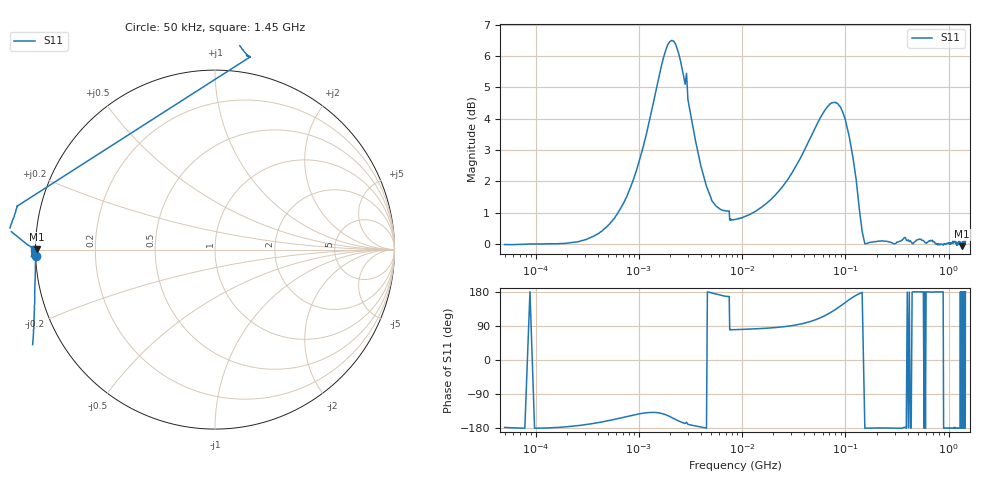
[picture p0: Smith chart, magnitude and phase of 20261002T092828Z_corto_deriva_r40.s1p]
! piloto_deriva / corto_deriva / r40
# HZ S RI R 50
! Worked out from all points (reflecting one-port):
!   501 points, 50 kHz to 1.45 GHz, reference 50 ohm
!   lowest |S11| = -0.1 dB at 1.347 GHz (marker M1), VSWR 233.25, Z = 0.214 + j0.0378 ohm
!   phase of S11 starts at -178 deg and turns -2 deg over the sweep
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50000  -0.9967 -0.0369
183000  -0.9998 -0.0521
363500  -1.004 -0.2247
658000  -1.015 -0.5112
1180000  -1.135 -0.9766
1630000  -1.474 -1.211
1990000  -1.807 -1.078
2170000  -1.9 -0.9113
2440000  -1.9 -0.6439
3160000  -1.593 -0.2396
4330000  -1.264 -0.0306
7300000  -1.102 0.2418
7750000  0.1749 1.082
8560000  0.1865 1.078
1.99e7  0.1011 1.182
3.16e7  -0.0348 1.312
4.69e7  -0.323 1.453
6.76e7  -0.8599 1.419
7.93e7  -1.14 1.238
9.37e7  -1.354 0.9004
9.82e7  -1.385 0.7829
1e8  -1.391 0.7387
1.18e8  -1.333 0.339
1.36e8  -1.134 0.0998
1.63e8  -1.002 -0.00368
4.06e8  -1.015 -0.0223
1.3465e9  -0.9915 0.0015
1.45e9  -1.009 0.00164
